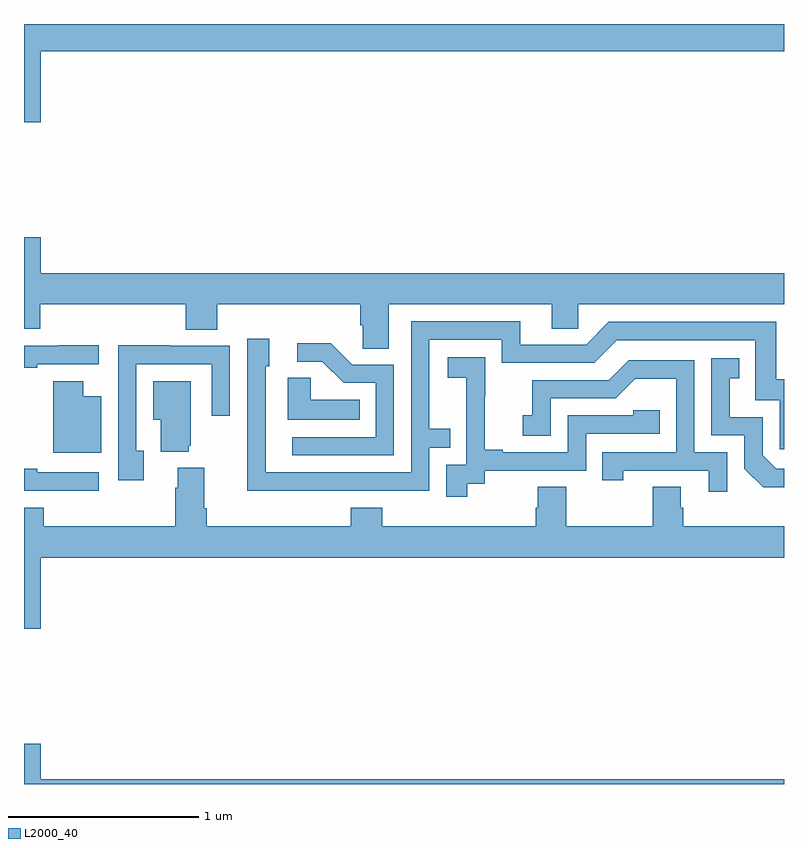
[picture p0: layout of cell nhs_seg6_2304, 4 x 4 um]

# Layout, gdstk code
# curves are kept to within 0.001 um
import gdstk
lib = gdstk.Library(unit=1e-6, precision=1e-09)
def P(c, l, *ps):  # polygons
    for p in ps: c.add(gdstk.Polygon(p, *l))
L2000_40 = (2000, 40)

nhs_seg6_2304 = lib.new_cell('nhs_seg6_2304')
P(nhs_seg6_2304, L2000_40, [(249.088,927.356),(253,927.356),(253,927.5),(249,927.5),(249,926.982),(249.088,926.982)],
  [(250.921,926.024),(251.777,926.024),(251.777,925.897),(251.916,925.897),(251.916,926.024),(253,926.024),(253,926.188),(249.088,926.188),(249.088,926.377),(249,926.377),(249,925.896),(249.085,925.896),(249.085,926.024),(249.851,926.024),(249.851,925.891),(250.016,925.891),(250.016,926.024),(250.769,926.024),(250.769,925.915),(250.782,925.915),(250.782,925.792),(250.921,925.792)],
  [(250.637,925.044),(251.133,925.044),(251.133,925.269),(251.243,925.269),(251.243,925.37),(251.133,925.37),(251.133,925.839),(251.514,925.839),(251.514,925.716),(252,925.716),(252.12,925.836),(252.849,925.836),(252.849,925.521),(252.978,925.521),(252.978,925.263),(253,925.263),(253,925.63),(252.958,925.63),(252.958,925.932),(252.078,925.932),(251.958,925.812),(251.611,925.812),(251.611,925.935),(251.037,925.935),(251.037,925.14),(250.272,925.14),(250.272,925.698),(250.291,925.698),(250.291,925.843),(250.176,925.843),(250.176,925.349),(250.174,925.349),(250.174,925.043)],
  [(250.947,925.707),(250.728,925.707),(250.615,925.82),(250.437,925.82),(250.437,925.722),(250.571,925.722),(250.682,925.611),(250.851,925.611),(250.851,925.326),(250.413,925.326),(250.413,925.23),(250.947,925.23)],
  [(249.07,925.71),(249.394,925.71),(249.394,925.808),(249.181,925.808),(249.181,925.806),(249,925.806),(249,925.69),(249.07,925.69)],
  [(249.631,925.254),(249.591,925.254),(249.591,925.71),(249.987,925.71),(249.987,925.437),(250.083,925.437),(250.083,925.806),(249.767,925.806),(249.767,925.808),(249.495,925.808),(249.495,925.098),(249.631,925.098)],
  [(251.332,925.081),(251.424,925.081),(251.424,925.149),(251.958,925.149),(251.958,925.344),(252.347,925.344),(252.347,925.467),(252.207,925.467),(252.207,925.44),(251.862,925.44),(251.862,925.245),(251.521,925.245),(251.521,925.258),(251.426,925.258),(251.426,925.541),(251.427,925.541),(251.427,925.747),(251.229,925.747),(251.229,925.637),(251.327,925.637),(251.327,925.409),(251.328,925.409),(251.328,925.179),(251.223,925.179),(251.223,925.011),(251.332,925.011)],
  [(253,925.158),(252.96,925.158),(252.888,925.23),(252.888,925.431),(252.715,925.431),(252.715,925.635),(252.764,925.635),(252.764,925.741),(252.618,925.741),(252.618,925.335),(252.792,925.335),(252.792,925.158),(252.89,925.061),(253,925.061)],
  [(252.702,925.245),(252.528,925.245),(252.528,925.731),(252.182,925.731),(252.077,925.626),(251.674,925.626),(251.674,925.441),(251.625,925.441),(251.625,925.332),(251.772,925.332),(251.772,925.53),(252.114,925.53),(252.218,925.634),(252.432,925.634),(252.432,925.245),(252.043,925.245),(252.043,925.098),(252.154,925.098),(252.154,925.149),(252.605,925.149),(252.605,925.038),(252.702,925.038)],
  [(250.766,925.522),(250.509,925.522),(250.509,925.637),(250.388,925.637),(250.388,925.418),(250.766,925.418)],
  [(249.406,925.54),(249.313,925.54),(249.313,925.621),(249.155,925.621),(249.155,925.244),(249.406,925.244)],
  [(249.866,925.281),(249.877,925.281),(249.877,925.621),(249.68,925.621),(249.68,925.418),(249.719,925.418),(249.719,925.25),(249.866,925.25)],
  [(249.088,924.692),(253,924.692),(253,924.856),(252.47,924.856),(252.47,924.954),(252.457,924.954),(252.457,925.064),(252.31,925.064),(252.31,924.856),(251.853,924.856),(251.853,925.064),(251.705,925.064),(251.705,924.954),(251.693,924.954),(251.693,924.856),(250.886,924.856),(250.886,924.955),(250.721,924.955),(250.721,924.856),(249.962,924.856),(249.962,924.952),(249.949,924.952),(249.949,925.165),(249.809,925.165),(249.809,925.058),(249.797,925.058),(249.797,924.856),(249.104,924.856),(249.104,924.954),(249,924.954),(249,924.318),(249.088,924.318)],
  [(249.394,925.14),(249.07,925.14),(249.07,925.16),(249,925.16),(249,925.044),(249.147,925.044),(249.147,925.043),(249.394,925.043)],
  [(253,923.524),(249.088,923.524),(249.088,923.713),(249,923.713),(249,923.5),(253,923.5)])

lib.write_gds('nhs_seg6_2304.gds')
